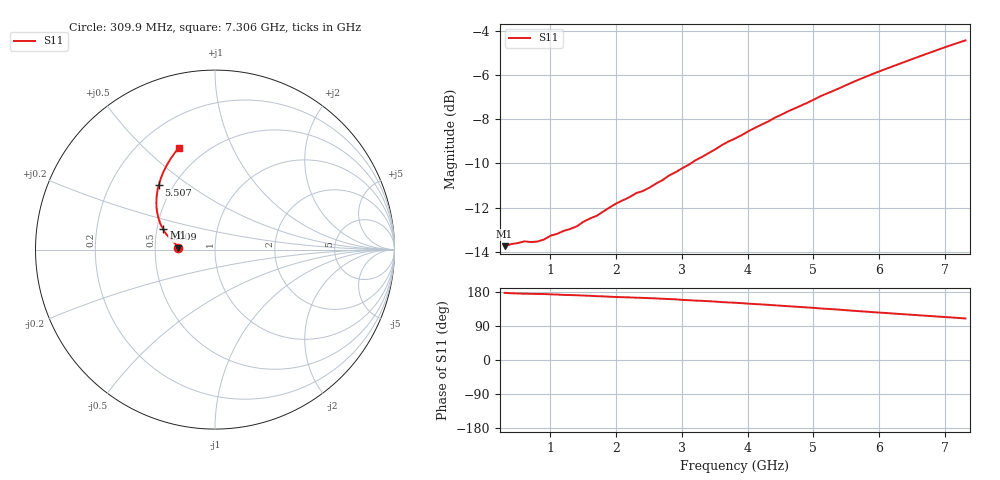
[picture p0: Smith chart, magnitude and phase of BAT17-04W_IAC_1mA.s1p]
! Infineon Technologies  Discrete & RF Semiconductors
! BAT17-04W
! IAC = 1 mA
! One-Port S-Parameters
# Hz  S  MA  R  50
!f  S11
!Hz  Mag  Ang
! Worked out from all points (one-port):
!   71 points, 309.9 MHz to 7.306 GHz, reference 50 ohm
!   lowest |S11| = -13.7 dB at 309.9 MHz (marker M1), VSWR 1.52, Z = 33 + j0.723 ohm
!   |S11| at or under -10 dB: start of sweep to 3.139 GHz
!   S11 on the Smith chart (normalised r, x): 309.9 MHz: 0.66, +0.01; 3.009 GHz: 0.54, +0.14; 5.507 GHz: 0.42, +0.39; 7.306 GHz: 0.36, +0.64
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3.0985e8  0.2054 177.1
6.097e8  0.2106 174.9
8.096e8  0.2104 174.3
9.0955e8  0.2127 174.1
1.0095e9  0.217 173.3
1.2094e9  0.2225 171.7
1.4093e9  0.2279 170.8
1.50925e9  0.2333 170.1
1.70915e9  0.2406 168.4
2.10895e9  0.261 165.7
2.4088e9  0.2737 163.9
2.6087e9  0.2845 162.5
2.90855e9  0.302 160.1
3.0085e9  0.3083 158.5
3.30835e9  0.327 156.1
3.8081e9  0.3597 151.1
4.2079e9  0.3866 146.7
4.70765e9  0.4205 140.9
5.0075e9  0.4407 137.5
5.10745e9  0.4486 136.0
5.30735e9  0.4618 133.9
5.50725e9  0.476 131.2
5.6072e9  0.4832 129.9
6.10695e9  0.5175 123.9
6.50675e9  0.5447 119.1
6.8066e9  0.5653 115.7
7.10645e9  0.5863 112.1
7.30635e9  0.5996 109.6
